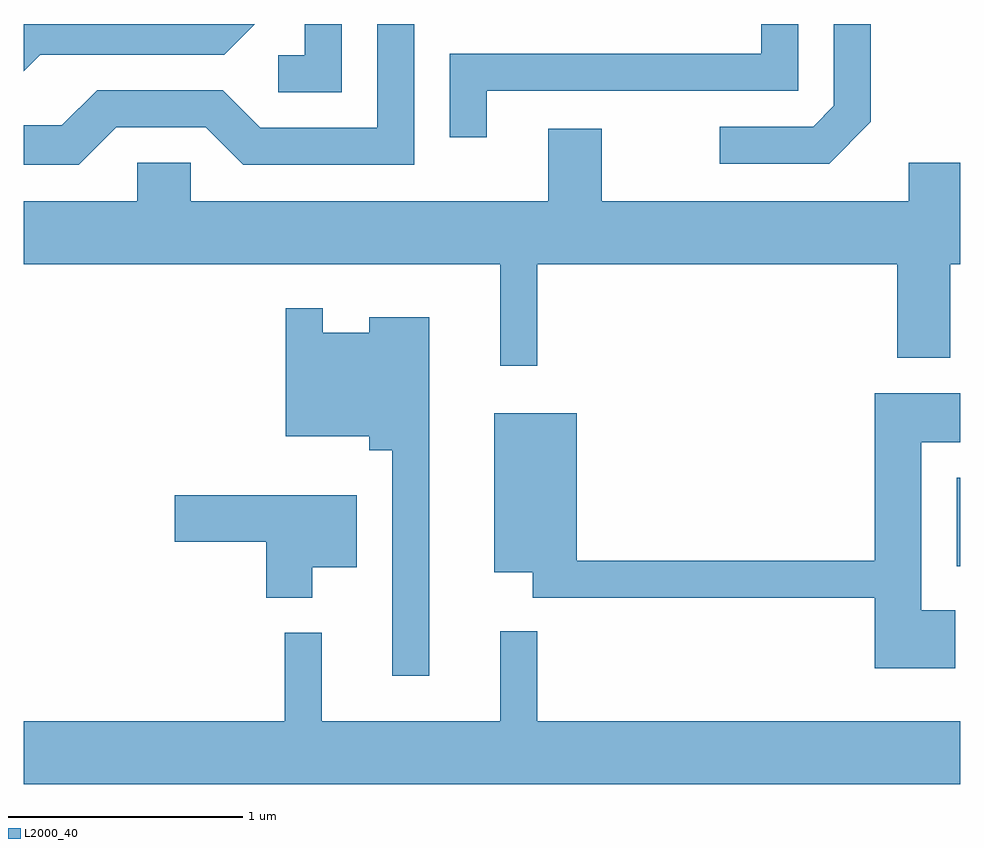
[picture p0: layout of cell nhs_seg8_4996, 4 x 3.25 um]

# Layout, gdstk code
import gdstk
lib = gdstk.Library(unit=1e-6, precision=1e-09)
def R(c, l, rs):  # rectangles x0, y0, x1, y1
    for r in rs: c.add(gdstk.rectangle(r[:2], r[2:], *l))
def P(c, l, *ps):  # polygons
    for p in ps: c.add(gdstk.Polygon(p, *l))
L2000_40 = (2000, 40)

nhs_seg8_4996 = lib.new_cell('nhs_seg8_4996')
R(nhs_seg8_4996, L2000_40, [(339.596,1824.026,339.611,1824.404)])
P(nhs_seg8_4996, L2000_40, [(336.007,1825.901),(336.389,1825.901),(336.549,1825.741),(337.279,1825.741),(337.279,1826.342),(337.121,1826.342),(337.121,1825.899),(336.622,1825.899),(336.462,1826.059),(335.924,1826.059),(335.774,1825.909),(335.611,1825.909),(335.611,1825.741),(335.847,1825.741)],
  [(339.229,1825.924),(339.229,1826.342),(339.071,1826.342),(339.071,1825.992),(338.984,1825.904),(338.583,1825.904),(338.583,1825.746),(339.052,1825.746)],
  [(335.682,1826.211),(336.467,1826.211),(336.597,1826.342),(335.611,1826.342),(335.611,1826.14)],
  [(337.589,1826.056),(338.919,1826.056),(338.919,1826.342),(338.761,1826.342),(338.761,1826.214),(337.431,1826.214),(337.431,1825.858),(337.589,1825.858)],
  [(336.969,1826.342),(336.811,1826.342),(336.811,1826.209),(336.698,1826.209),(336.698,1826.051),(336.969,1826.051)],
  [(337.804,1825.316),(339.341,1825.316),(339.341,1824.916),(339.569,1824.916),(339.569,1825.316),(339.611,1825.316),(339.611,1825.749),(339.391,1825.749),(339.391,1825.584),(338.079,1825.584),(338.079,1825.894),(337.851,1825.894),(337.851,1825.584),(336.324,1825.584),(336.324,1825.749),(336.096,1825.749),(336.096,1825.584),(335.611,1825.584),(335.611,1825.316),(337.646,1825.316),(337.646,1824.883),(337.804,1824.883)],
  [(337.344,1825.089),(337.086,1825.089),(337.086,1825.024),(336.889,1825.024),(336.889,1825.128),(336.731,1825.128),(336.731,1824.581),(337.086,1824.581),(337.086,1824.521),(337.186,1824.521),(337.186,1823.558),(337.344,1823.558)],
  [(339.589,1823.839),(339.444,1823.839),(339.444,1824.556),(339.611,1824.556),(339.611,1824.764),(339.246,1824.764),(339.246,1824.049),(337.974,1824.049),(337.974,1824.679),(337.621,1824.679),(337.621,1824.001),(337.786,1824.001),(337.786,1823.891),(339.246,1823.891),(339.246,1823.591),(339.589,1823.591)],
  [(336.844,1824.021),(337.034,1824.021),(337.034,1824.329),(336.256,1824.329),(336.256,1824.131),(336.646,1824.131),(336.646,1823.891),(336.844,1823.891)],
  [(339.611,1823.364),(337.804,1823.364),(337.804,1823.748),(337.646,1823.748),(337.646,1823.364),(336.884,1823.364),(336.884,1823.743),(336.726,1823.743),(336.726,1823.364),(335.611,1823.364),(335.611,1823.096),(339.611,1823.096)])

lib.write_gds('nhs_seg8_4996.gds')
